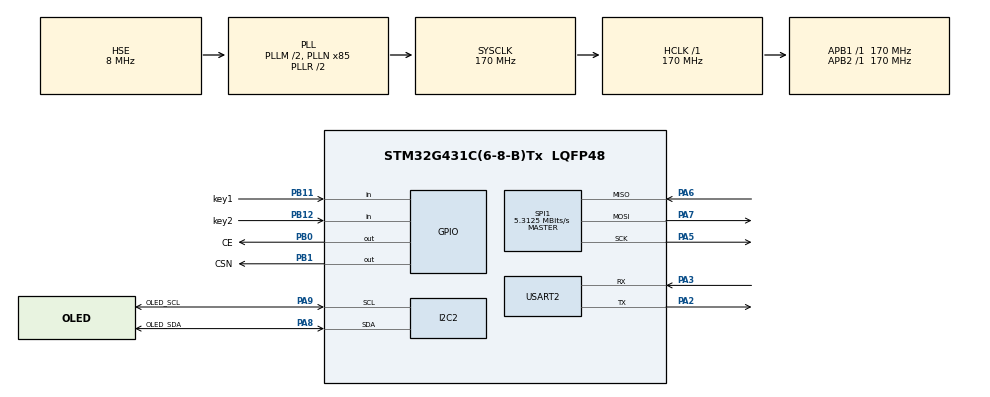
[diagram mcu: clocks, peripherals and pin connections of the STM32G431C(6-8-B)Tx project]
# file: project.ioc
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I2C2.Timing=0x40B285C2
Mcu.Family=STM32G4
Mcu.Name=STM32G431C(6-8-B)Tx
Mcu.Package=LQFP48
NVIC.PriorityGroup=NVIC_PRIORITYGROUP_4
PA13.Mode=Serial_Wire
PA13.Signal=SYS_JTMS-SWDIO
PA14.Mode=Serial_Wire
PA14.Signal=SYS_JTCK-SWCLK
PA2.Mode=Asynchronous
PA2.Signal=USART2_TX
PA3.Mode=Asynchronous
PA3.Signal=USART2_RX
PA5.GPIO_Mode=GPIO_MODE_AF_PP
PA5.GPIO_Speed=GPIO_SPEED_FREQ_HIGH
PA5.Mode=Full_Duplex_Master
PA5.Signal=SPI1_SCK
PA6.GPIO_PuPd=GPIO_PULLUP
PA6.GPIO_Speed=GPIO_SPEED_FREQ_HIGH
PA6.Mode=Full_Duplex_Master
PA6.Signal=SPI1_MISO
PA7.GPIO_Speed=GPIO_SPEED_FREQ_HIGH
PA7.Mode=Full_Duplex_Master
PA7.Signal=SPI1_MOSI
PA8.GPIO_Label=OLED_SDA
PA8.GPIO_Speed=GPIO_SPEED_FREQ_HIGH
PA8.Mode=I2C
PA8.Signal=I2C2_SDA
PA9.GPIO_Label=OLED_SCL
PA9.GPIO_Speed=GPIO_SPEED_FREQ_HIGH
PA9.Mode=I2C
PA9.Signal=I2C2_SCL
PB0.GPIO_Label=CE
PB0.GPIO_ModeDefaultOutputPP=GPIO_MODE_OUTPUT_PP
PB0.GPIO_PuPd=GPIO_NOPULL
PB0.GPIO_Speed=GPIO_SPEED_FREQ_MEDIUM
PB0.PinState=GPIO_PIN_RESET
PB0.Signal=GPIO_Output
PB1.GPIO_Label=CSN
PB1.GPIO_ModeDefaultOutputPP=GPIO_MODE_OUTPUT_PP
PB1.GPIO_PuPd=GPIO_NOPULL
PB1.GPIO_Speed=GPIO_SPEED_FREQ_MEDIUM
PB1.PinState=GPIO_PIN_SET
PB1.Signal=GPIO_Output
PB11.GPIO_Label=key1
PB11.GPIO_PuPd=GPIO_PULLUP
PB11.Signal=GPIO_Input
PB12.GPIO_Label=key2
PB12.GPIO_PuPd=GPIO_PULLUP
PB12.Signal=GPIO_Input
PF0-OSC_IN.Mode=HSE-External-Oscillator
PF0-OSC_IN.Signal=RCC_OSC_IN
PF1-OSC_OUT.Mode=HSE-External-Oscillator
PF1-OSC_OUT.Signal=RCC_OSC_OUT
ProjectManager.HeapSize=0x200
ProjectManager.StackSize=0x400
ProjectManager.TargetToolchain=MDK-ARM V5.32
RCC.ADC12Freq_Value=170000000
RCC.AHBFreq_Value=170000000
RCC.APB1Freq_Value=170000000
RCC.APB1TimFreq_Value=170000000
RCC.APB2Freq_Value=170000000
RCC.APB2TimFreq_Value=170000000
RCC.CortexFreq_Value=170000000
RCC.EXTERNAL_CLOCK_VALUE=12288000
RCC.HCLKFreq_Value=170000000
RCC.HSE_VALUE=8000000
RCC.HSI48_VALUE=48000000
RCC.HSI_VALUE=16000000
RCC.LSE_VALUE=32768
RCC.PLLM=RCC_PLLM_DIV2
RCC.PLLN=85
RCC.PLLSourceVirtual=RCC_PLLSOURCE_HSE
RCC.SYSCLKFreq_VALUE=170000000
RCC.SYSCLKSource=RCC_SYSCLKSOURCE_PLLCLK
RCC.USBFreq_Value=170000000
RCC.VCOOutputFreq_Value=340000000
SPI1.BaudRatePrescaler=SPI_BAUDRATEPRESCALER_32
SPI1.CalculateBaudRate=5.3125 MBits/s
SPI1.DataSize=SPI_DATASIZE_8BIT
SPI1.Direction=SPI_DIRECTION_2LINES
SPI1.Mode=SPI_MODE_MASTER
SPI1.VirtualType=VM_MASTER
USART2.VirtualMode-Asynchronous=VM_ASYNC
VP_SYS_VS_DBSignals.Mode=DisableDeadBatterySignals
board=custom

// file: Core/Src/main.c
/* USER CODE BEGIN Header */
/**
  ******************************************************************************
  * @file           : main.c
  * @brief          : NRF24L01 双机通信测试
  ******************************************************************************
  * @attention
  * 两块板子，每块插一个 NRF24L01。
  * 改下面 DEVICE_MODE，分别编译烧录：
  *   MODE_TX → 板A（发送端）
  *   MODE_RX → 板B（接收端）
  * 都上电后，TX端OLED数据递增，RX端OLED显示相同数据 → 通信成功
  ******************************************************************************
  */
/* USER CODE END Header */
#include "main.h"

/* USER CODE BEGIN Includes */
#include "NRF24L01.h"
#include "OLED.h"
/* USER CODE END Includes */

/* USER CODE BEGIN PD */
/* ★★★ 改这里切换角色 ★★★ */
#define MODE_TX  1
#define MODE_RX  2
#define DEVICE_MODE  MODE_RX   // <-- 先烧TX，再改RX烧另一个板子
/* USER CODE END PD */

I2C_HandleTypeDef hi2c2;
SPI_HandleTypeDef hspi1;
UART_HandleTypeDef huart2;

void SystemClock_Config(void);
static void MX_GPIO_Init(void);
static void MX_SPI1_Init(void);
static void MX_USART2_UART_Init(void);
static void MX_I2C2_Init(void);

/* USER CODE BEGIN 0 */

#if DEVICE_MODE == MODE_TX
uint8_t  tx_data[4];        // 要发送的数据
uint8_t  send_flag;         // 1=成功 2=失败 3=异常 4=超时
uint16_t send_ok;           // 发送成功次数
uint16_t send_fail;         // 发送失败次数
uint32_t last_send_ms;      // 上次发送时刻
#endif

#if DEVICE_MODE == MODE_RX
uint8_t  rx_data[4];        // 接收到的数据
uint8_t  recv_flag;         // 1=成功 2=异常 3=掉电
uint16_t recv_ok;           // 接收成功次数
uint16_t recv_fail;         // 接收失败次数
#endif

/* USER CODE END 0 */

int main(void)
{

  /* MCU Configuration--------------------------------------------------------*/
  HAL_Init();

  SystemClock_Config();

  MX_GPIO_Init();
  MX_SPI1_Init();
  MX_USART2_UART_Init();
  MX_I2C2_Init();

  /* USER CODE BEGIN 2 */

  /* ---- LED闪3次：证明代码在跑 ---- */
  for(int i = 0; i < 3; i++)
  {
    HAL_GPIO_WritePin(GPIOB, GPIO_PIN_0, GPIO_PIN_SET);
    HAL_Delay(200);
    HAL_GPIO_WritePin(GPIOB, GPIO_PIN_0, GPIO_PIN_RESET);
    HAL_Delay(200);
  }

  /* ---- OLED初始化 + I2C快速自检 ---- */
  OLED_Init();
  OLED_Clear();
  {
    uint8_t test_cmd = 0x00;
    if(HAL_I2C_Mem_Write(&hi2c2, 0x78, 0x00, I2C_MEMADD_SIZE_8BIT,
                          &test_cmd, 1, 100) != HAL_OK)
    {
      /* I2C不通：LED快闪10次后卡住 */
      for(int i = 0; i < 10; i++)
      {
        HAL_GPIO_WritePin(GPIOB, GPIO_PIN_0, GPIO_PIN_SET);
        HAL_Delay(50);
        HAL_GPIO_WritePin(GPIOB, GPIO_PIN_0, GPIO_PIN_RESET);
        HAL_Delay(50);
      }
      while(1);
    }
  }

  /* ---- NRF24L01初始化 + 自检 ---- */
  NRF24L01_Init();
  {
    uint8_t cv = NRF24L01_ReadReg(NRF24L01_CONFIG);
    if(cv == 0xFF || cv == 0x00)
    {
      OLED_ShowString(0, 0, "NRF ERR!", OLED_8X16);
      OLED_Update();
      HAL_GPIO_WritePin(GPIOB, GPIO_PIN_0, GPIO_PIN_SET); // LED常亮
      while(1);
    }
  }

  /* ---- OLED显示界面 ---- */
  OLED_Clear();
#if DEVICE_MODE == MODE_TX
  OLED_ShowString(0, 0,  "== TX MODE ==", OLED_8X16);
  OLED_ShowString(0, 16, "S:0000 F:0000", OLED_8X16);
  OLED_ShowString(0, 32, "D:00 00 00 00", OLED_8X16);
  OLED_ShowString(0, 48, "Sending...", OLED_8X16);
  tx_data[0] = 0; tx_data[1] = 0;
  tx_data[2] = 0; tx_data[3] = 0;
  send_ok = 0; send_fail = 0;
  last_send_ms = HAL_GetTick();
#else
  OLED_ShowString(0, 0,  "== RX MODE ==", OLED_8X16);
  OLED_ShowString(0, 16, "R:0000 E:0000", OLED_8X16);
  OLED_ShowString(0, 32, "D:00 00 00 00", OLED_8X16);
  OLED_ShowString(0, 48, "Listening...", OLED_8X16);
  recv_ok = 0; recv_fail = 0;
#endif
  OLED_Update();

  /* USER CODE END 2 */

  /* Infinite loop */
  while (1)
  {

    /* USER CODE BEGIN 3 */

#if DEVICE_MODE == MODE_TX
    /* ===== 发送端：每500ms自动发一包 ===== */
    if(HAL_GetTick() - last_send_ms >= 500)
    {
      last_send_ms = HAL_GetTick();

      /* 数据递增，RX端能看到变化 */
      tx_data[0]++;
      if(tx_data[0] == 0) tx_data[1]++;
      if(tx_data[0] == 0 && tx_data[1] == 0) tx_data[2]++;
      if(tx_data[0] == 0 && tx_data[1] == 0 && tx_data[2] == 0) tx_data[3]++;

      /* 装填并发送 */
      NRF24L01_TxPacket[0] = tx_data[0];
      NRF24L01_TxPacket[1] = tx_data[1];
      NRF24L01_TxPacket[2] = tx_data[2];
      NRF24L01_TxPacket[3] = tx_data[3];
      send_flag = NRF24L01_Send();

      if(send_flag == 1) send_ok++;
      else               send_fail++;

      /* 刷新数据行（先不画"TX"，避免闪两下） */
      // 第2行 y=16：S:xxxx F:xxxx
      OLED_ShowString(0, 16, "S:", OLED_8X16);
      OLED_ShowNum(2*8, 16, send_ok, 4, OLED_8X16);
      OLED_ShowString(6*8, 16, "F:", OLED_8X16);
      OLED_ShowNum(8*8, 16, send_fail, 4, OLED_8X16);

      // 第3行 y=32：D:xx xx xx xx
      OLED_ShowString(0, 32, "D:", OLED_8X16);
      OLED_ShowHexNum(2*8, 32, tx_data[0], 2, OLED_8X16);
      OLED_ShowHexNum(5*8, 32, tx_data[1], 2, OLED_8X16);
      OLED_ShowHexNum(8*8, 32, tx_data[2], 2, OLED_8X16);
      OLED_ShowHexNum(11*8, 32, tx_data[3], 2, OLED_8X16);

      // 第4行 y=48：TX闪烁标记
      OLED_ShowString(0, 48, "TX", OLED_8X16);
      OLED_Update();

      /* 局部擦除TX标记，实现闪烁 */
      OLED_ShowString(0, 48, "  ", OLED_8X16);
      OLED_UpdateArea(0, 48, 16, 16); // 参数：x起点, y起点, 宽度, 高度
    }
#endif

#if DEVICE_MODE == MODE_RX
    /* ===== 接收端：持续监听 ===== */
    recv_flag = NRF24L01_Receive();
    if(recv_flag)
    {
      if(recv_flag == 1)
      {
        recv_ok++;
        rx_data[0] = NRF24L01_RxPacket[0];
        rx_data[1] = NRF24L01_RxPacket[1];
        rx_data[2] = NRF24L01_RxPacket[2];
        rx_data[3] = NRF24L01_RxPacket[3];
      }
      else
      {
        recv_fail++;
      }

      /* 刷新数据行 + 显示"RX" */
     // 第2行 y=16：R:xxxx E:xxxx
      OLED_ShowString(0, 16, "R:", OLED_8X16);
      OLED_ShowNum(2*8, 16, recv_ok, 4, OLED_8X16);
      OLED_ShowString(6*8, 16, "E:", OLED_8X16);
      OLED_ShowNum(8*8, 16, recv_fail, 4, OLED_8X16);

      // 第3行 y=32：D:xx xx xx xx
      OLED_ShowString(0, 32, "D:", OLED_8X16);
      OLED_ShowHexNum(2*8, 32, rx_data[0], 2, OLED_8X16);
      OLED_ShowHexNum(5*8, 32, rx_data[1], 2, OLED_8X16);
      OLED_ShowHexNum(8*8, 32, rx_data[2], 2, OLED_8X16);
      OLED_ShowHexNum(11*8, 32, rx_data[3], 2, OLED_8X16);

      // 第4行 y=48：RX闪烁标记
      OLED_ShowString(0, 48, "RX", OLED_8X16);
      OLED_Update();

      /* 局部擦除RX标记 */
      OLED_ShowString(0, 48, "  ", OLED_8X16);
      OLED_UpdateArea(0, 48, 16, 16);
    }
#endif

  }
  /* USER CODE END 3 */
}

/* ==================== CubeMX生成的外设初始化 ==================== */

void SystemClock_Config(void)
{
  RCC_OscInitTypeDef RCC_OscInitStruct = {0};
  RCC_ClkInitTypeDef RCC_ClkInitStruct = {0};
  HAL_PWREx_ControlVoltageScaling(PWR_REGULATOR_VOLTAGE_SCALE1_BOOST);

  RCC_OscInitStruct.OscillatorType = RCC_OSCILLATORTYPE_HSE;
  RCC_OscInitStruct.HSEState = RCC_HSE_ON;
  RCC_OscInitStruct.PLL.PLLState = RCC_PLL_ON;
  RCC_OscInitStruct.PLL.PLLSource = RCC_PLLSOURCE_HSE;
  RCC_OscInitStruct.PLL.PLLM = RCC_PLLM_DIV2;
  RCC_OscInitStruct.PLL.PLLN = 85;
  RCC_OscInitStruct.PLL.PLLP = RCC_PLLP_DIV2;
  RCC_OscInitStruct.PLL.PLLQ = RCC_PLLQ_DIV2;
  RCC_OscInitStruct.PLL.PLLR = RCC_PLLR_DIV2;
  if (HAL_RCC_OscConfig(&RCC_OscInitStruct) != HAL_OK)
    Error_Handler();

  RCC_ClkInitStruct.ClockType = RCC_CLOCKTYPE_HCLK|RCC_CLOCKTYPE_SYSCLK
                              |RCC_CLOCKTYPE_PCLK1|RCC_CLOCKTYPE_PCLK2;
  RCC_ClkInitStruct.SYSCLKSource = RCC_SYSCLKSOURCE_PLLCLK;
  RCC_ClkInitStruct.AHBCLKDivider = RCC_SYSCLK_DIV1;
  RCC_ClkInitStruct.APB1CLKDivider = RCC_HCLK_DIV1;
  RCC_ClkInitStruct.APB2CLKDivider = RCC_HCLK_DIV1;
  if (HAL_RCC_ClockConfig(&RCC_ClkInitStruct, FLASH_LATENCY_4) != HAL_OK)
    Error_Handler();
}

static void MX_I2C2_Init(void)
{
  hi2c2.Instance = I2C2;
  hi2c2.Init.Timing = 0x40B285C2;
  hi2c2.Init.OwnAddress1 = 0;
  hi2c2.Init.AddressingMode = I2C_ADDRESSINGMODE_7BIT;
  hi2c2.Init.DualAddressMode = I2C_DUALADDRESS_DISABLE;
  hi2c2.Init.OwnAddress2 = 0;
  hi2c2.Init.OwnAddress2Masks = I2C_OA2_NOMASK;
  hi2c2.Init.GeneralCallMode = I2C_GENERALCALL_DISABLE;
  hi2c2.Init.NoStretchMode = I2C_NOSTRETCH_DISABLE;
  if (HAL_I2C_Init(&hi2c2) != HAL_OK)
    Error_Handler();
  if (HAL_I2CEx_ConfigAnalogFilter(&hi2c2, I2C_ANALOGFILTER_ENABLE) != HAL_OK)
    Error_Handler();
  if (HAL_I2CEx_ConfigDigitalFilter(&hi2c2, 0) != HAL_OK)
    Error_Handler();
}

static void MX_SPI1_Init(void)
{
  hspi1.Instance = SPI1;
  hspi1.Init.Mode = SPI_MODE_MASTER;
  hspi1.Init.Direction = SPI_DIRECTION_2LINES;
  hspi1.Init.DataSize = SPI_DATASIZE_8BIT;
  hspi1.Init.CLKPolarity = SPI_POLARITY_LOW;
  hspi1.Init.CLKPhase = SPI_PHASE_1EDGE;
  hspi1.Init.NSS = SPI_NSS_SOFT;
  hspi1.Init.BaudRatePrescaler = SPI_BAUDRATEPRESCALER_32;
  hspi1.Init.FirstBit = SPI_FIRSTBIT_MSB;
  hspi1.Init.TIMode = SPI_TIMODE_DISABLE;
  hspi1.Init.CRCCalculation = SPI_CRCCALCULATION_DISABLE;
  hspi1.Init.CRCPolynomial = 7;
  hspi1.Init.CRCLength = SPI_CRC_LENGTH_DATASIZE;
  hspi1.Init.NSSPMode = SPI_NSS_PULSE_ENABLE;
  if (HAL_SPI_Init(&hspi1) != HAL_OK)
    Error_Handler();
}

static void MX_USART2_UART_Init(void)
{
  huart2.Instance = USART2;
  huart2.Init.BaudRate = 115200;
  huart2.Init.WordLength = UART_WORDLENGTH_8B;
  huart2.Init.StopBits = UART_STOPBITS_1;
  huart2.Init.Parity = UART_PARITY_NONE;
  huart2.Init.Mode = UART_MODE_TX_RX;
  huart2.Init.HwFlowCtl = UART_HWCONTROL_NONE;
  huart2.Init.OverSampling = UART_OVERSAMPLING_16;
  huart2.Init.OneBitSampling = UART_ONE_BIT_SAMPLE_DISABLE;
  huart2.Init.ClockPrescaler = UART_PRESCALER_DIV1;
  huart2.AdvancedInit.AdvFeatureInit = UART_ADVFEATURE_NO_INIT;
  if (HAL_UART_Init(&huart2) != HAL_OK)
    Error_Handler();
  if (HAL_UARTEx_SetTxFifoThreshold(&huart2, UART_TXFIFO_THRESHOLD_1_8) != HAL_OK)
    Error_Handler();
  if (HAL_UARTEx_SetRxFifoThreshold(&huart2, UART_RXFIFO_THRESHOLD_1_8) != HAL_OK)
    Error_Handler();
  if (HAL_UARTEx_DisableFifoMode(&huart2) != HAL_OK)
    Error_Handler();
}

static void MX_GPIO_Init(void)
{
  GPIO_InitTypeDef GPIO_InitStruct = {0};
  __HAL_RCC_GPIOF_CLK_ENABLE();
  __HAL_RCC_GPIOA_CLK_ENABLE();
  __HAL_RCC_GPIOB_CLK_ENABLE();

  HAL_GPIO_WritePin(CE_GPIO_Port, CE_Pin, GPIO_PIN_RESET);
  HAL_GPIO_WritePin(CSN_GPIO_Port, CSN_Pin, GPIO_PIN_SET);

  GPIO_InitStruct.Pin = CE_Pin|CSN_Pin;
  GPIO_InitStruct.Mode = GPIO_MODE_OUTPUT_PP;
  GPIO_InitStruct.Pull = GPIO_NOPULL;
  GPIO_InitStruct.Speed = GPIO_SPEED_FREQ_HIGH;
  HAL_GPIO_Init(GPIOB, &GPIO_InitStruct);
}

void Error_Handler(void)
{
  __disable_irq();
  while (1) { }
}
